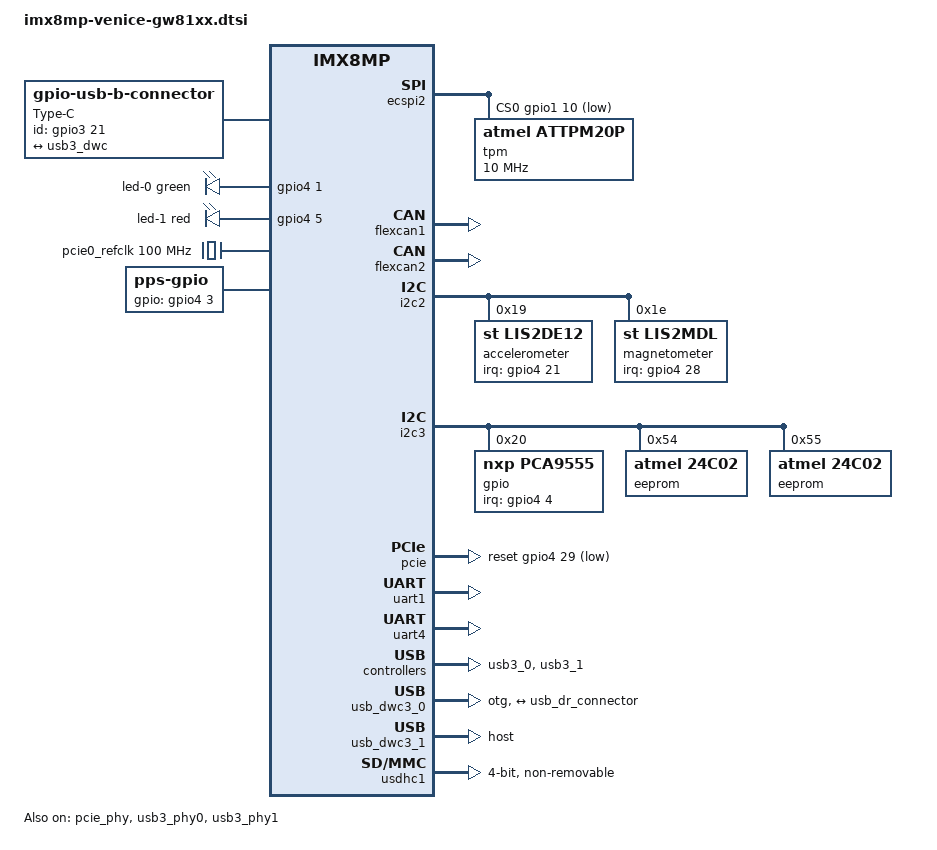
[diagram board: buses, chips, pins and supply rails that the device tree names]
// SPDX-License-Identifier: (GPL-2.0+ OR MIT)
/*
 * Copyright 2026 Gateworks Corporation
 */

#include <dt-bindings/gpio/gpio.h>
#include <dt-bindings/leds/common.h>
#include <dt-bindings/phy/phy-imx8-pcie.h>

/ {
	aliases {
		fsa1 = &i2c3;
	};

	connector {
		compatible = "gpio-usb-b-connector", "usb-b-connector";
		id-gpios = <&gpio3 21 GPIO_ACTIVE_HIGH>;
		label = "Type-C";
		pinctrl-0 = <&pinctrl_usbcon1>;
		pinctrl-names = "default";
		type = "micro";

		port {
			usb_dr_connector: endpoint {
				remote-endpoint = <&usb3_dwc>;
			};
		};
	};

	led-controller {
		compatible = "gpio-leds";
		pinctrl-0 = <&pinctrl_gpio_leds>;
		pinctrl-names = "default";

		led-0 {
			color = <LED_COLOR_ID_GREEN>;
			default-state = "on";
			function = LED_FUNCTION_STATUS;
			gpios = <&gpio4 1 GPIO_ACTIVE_HIGH>;
			linux,default-trigger = "heartbeat";
		};

		led-1 {
			color = <LED_COLOR_ID_RED>;
			default-state = "off";
			function = LED_FUNCTION_STATUS;
			gpios = <&gpio4 5 GPIO_ACTIVE_HIGH>;
		};
	};

	pcie0_refclk: clock-pcie0 {
		compatible = "fixed-clock";
		#clock-cells = <0>;
		clock-frequency = <100000000>;
	};

	pps {
		compatible = "pps-gpio";
		gpios = <&gpio4 3 GPIO_ACTIVE_HIGH>;
		pinctrl-0 = <&pinctrl_pps>;
		pinctrl-names = "default";
	};
};

&ecspi2 {
	cs-gpios = <&gpio1 10 GPIO_ACTIVE_LOW>,	/* CS0 onboard TPM */
		   <&gpio4 26 GPIO_ACTIVE_LOW>; /* CS1 off-board J30 FSA1 */
	pinctrl-0 = <&pinctrl_spi2>;
	pinctrl-names = "default";
	status = "okay";

	tpm@0 {
		compatible = "atmel,attpm20p", "tcg,tpm_tis-spi";
		reg = <0x0>;
		spi-max-frequency = <10000000>;
	};
};

&flexcan1 {
	pinctrl-0 = <&pinctrl_can1>;
	pinctrl-names = "default";
	status = "okay";
};

&flexcan2 {
	pinctrl-0 = <&pinctrl_can2>;
	pinctrl-names = "default";
	status = "okay";
};

&gpio1 {
	gpio-line-names = "", "", "", "",
		"fsa1_gpio3", "", "", "",
		"", "", "", "",
		"", "fsa1_gpio1", "", "",
		"", "", "", "",
		"", "", "", "",
		"", "", "", "",
		"", "", "", "";
};

&gpio4 {
	gpio-line-names = "", "", "", "",
		"fsa1_gpio4", "", "", "",
		"dio1", "", "", "dio0",
		"fsa1_present#", "", "fsa1_card_pen", "",
		"", "", "", "",
		"", "", "rs485_en", "rs485_term",
		"fsa1_gpio2", "", "", "rs485_half",
		"", "", "", "";
};

&i2c2 {
	accelerometer@19 {
		compatible = "st,lis2de12";
		reg = <0x19>;
		interrupt-parent = <&gpio4>;
		interrupts = <21 IRQ_TYPE_LEVEL_LOW>;
		pinctrl-0 = <&pinctrl_accel>;
		pinctrl-names = "default";
		st,drdy-int-pin = <1>;
	};

	magnetometer@1e {
		compatible = "st,lis2mdl";
		reg = <0x1e>;
		interrupt-parent = <&gpio4>;
		interrupts = <28 IRQ_TYPE_LEVEL_LOW>;
		pinctrl-0 = <&pinctrl_mag>;
		pinctrl-names = "default";
	};
};

&i2c3 {
	gpio@20 {
		compatible = "nxp,pca9555";
		reg = <0x20>;
		#interrupt-cells = <2>;
		interrupt-controller;
		interrupt-parent = <&gpio4>;
		interrupts = <4 IRQ_TYPE_EDGE_FALLING>;
		#gpio-cells = <2>;
		gpio-controller;
	};

	eeprom@54 {
		compatible = "atmel,24c02";
		reg = <0x54>;
		pagesize = <16>;
	};

	eeprom@55 {
		compatible = "atmel,24c02";
		reg = <0x55>;
		pagesize = <16>;
	};
};

&iomuxc {
	pinctrl-0 = <&pinctrl_hog>;
	pinctrl-names = "default";

	pinctrl_accel: accelgrp {
		fsl,pins = <
			MX8MP_IOMUXC_SAI2_RXFS__GPIO4_IO21	0x150	/* IRQ# */
		>;
	};

	pinctrl_can1: can1grp {
		fsl,pins = <
			MX8MP_IOMUXC_SPDIF_TX__CAN1_TX		0x154
			MX8MP_IOMUXC_SPDIF_RX__CAN1_RX		0x154
		>;
	};

	pinctrl_can2: can2grp {
		fsl,pins = <
			MX8MP_IOMUXC_SAI5_RXD3__CAN2_TX		0x154
			MX8MP_IOMUXC_SAI5_MCLK__CAN2_RX		0x154
		>;
	};

	pinctrl_gpio_leds: gpioledgrp {
		fsl,pins = <
			MX8MP_IOMUXC_SAI1_RXC__GPIO4_IO01	0x6	/* LEDG */
			MX8MP_IOMUXC_SAI1_RXD3__GPIO4_IO05	0x6	/* LEDR */
		>;
	};

	pinctrl_hog: hoggrp {
		fsl,pins = <
			MX8MP_IOMUXC_SAI1_RXD6__GPIO4_IO08	0x146	/* DIO1 */
			MX8MP_IOMUXC_SAI1_TXC__GPIO4_IO11	0x146	/* DIO0 */
			MX8MP_IOMUXC_SAI2_MCLK__GPIO4_IO27	0x106	/* RS485_HALF */
			MX8MP_IOMUXC_SAI2_RXC__GPIO4_IO22	0x106	/* RS485_EN */
			MX8MP_IOMUXC_SAI2_RXD0__GPIO4_IO23	0x106	/* RS485_TERM */
			MX8MP_IOMUXC_SAI1_TXD2__GPIO4_IO14	0x1d0	/* FSA1_PEN */
			MX8MP_IOMUXC_SAI1_TXD0__GPIO4_IO12	0x1d0	/* FSA1_PRES# */
		>;
	};

	pinctrl_mag: maggrp {
		fsl,pins = <
			MX8MP_IOMUXC_SAI3_RXFS__GPIO4_IO28	0x140	/* IRQ# */
		>;
	};

	pinctrl_pcie0: pcie0grp {
		fsl,pins = <
			MX8MP_IOMUXC_SAI3_RXC__GPIO4_IO29	0x106	/* PERST# */
		>;
	};

	pinctrl_pps: ppsgrp {
		fsl,pins = <
			MX8MP_IOMUXC_SAI1_RXD1__GPIO4_IO03	0x146
		>;
	};

	pinctrl_spi2: spi2grp {
		fsl,pins = <
			MX8MP_IOMUXC_ECSPI2_SCLK__ECSPI2_SCLK	0xd0
			MX8MP_IOMUXC_ECSPI2_MOSI__ECSPI2_MOSI	0xd0
			MX8MP_IOMUXC_ECSPI2_MISO__ECSPI2_MISO	0xd0
			MX8MP_IOMUXC_GPIO1_IO10__GPIO1_IO10	0x140	/* TPM_CS */
			MX8MP_IOMUXC_SAI2_TXD0__GPIO4_IO26	0x140	/* FSA1_CS */
		>;
	};

	pinctrl_uart1: uart1grp {
		fsl,pins = <
			MX8MP_IOMUXC_UART1_RXD__UART1_DCE_RX	0x140
			MX8MP_IOMUXC_UART1_TXD__UART1_DCE_TX	0x140
		>;
	};

	pinctrl_uart4: uart4grp {
		fsl,pins = <
			MX8MP_IOMUXC_UART4_RXD__UART4_DCE_RX	0x140
			MX8MP_IOMUXC_UART4_TXD__UART4_DCE_TX	0x140
		>;
	};

	pinctrl_usb1: usb1grp {
		fsl,pins = <
			MX8MP_IOMUXC_SAI1_RXC__GPIO4_IO01	0x140 /* USB1_FLT# */
		>;
	};

	pinctrl_usbcon1: usbcon1grp {
		fsl,pins = <
			MX8MP_IOMUXC_SAI5_RXD0__GPIO3_IO21	0x140 /* USB1_ID */
		>;
	};

	pinctrl_usdhc1: usdhc1grp {
		fsl,pins = <
			MX8MP_IOMUXC_SD1_CLK__USDHC1_CLK	0x190
			MX8MP_IOMUXC_SD1_CMD__USDHC1_CMD	0x1d0
			MX8MP_IOMUXC_SD1_DATA0__USDHC1_DATA0	0x1d0
			MX8MP_IOMUXC_SD1_DATA1__USDHC1_DATA1	0x1d0
			MX8MP_IOMUXC_SD1_DATA2__USDHC1_DATA2	0x1d0
			MX8MP_IOMUXC_SD1_DATA3__USDHC1_DATA3	0x1d0
		>;
	};

	pinctrl_usdhc1_100mhz: usdhc1-100mhzgrp {
		fsl,pins = <
			MX8MP_IOMUXC_SD1_CLK__USDHC1_CLK	0x194
			MX8MP_IOMUXC_SD1_CMD__USDHC1_CMD	0x1d4
			MX8MP_IOMUXC_SD1_DATA0__USDHC1_DATA0	0x1d4
			MX8MP_IOMUXC_SD1_DATA1__USDHC1_DATA1	0x1d4
			MX8MP_IOMUXC_SD1_DATA2__USDHC1_DATA2	0x1d4
			MX8MP_IOMUXC_SD1_DATA3__USDHC1_DATA3	0x1d4
		>;
	};

	pinctrl_usdhc1_200mhz: usdhc1-200mhzgrp {
		fsl,pins = <
			MX8MP_IOMUXC_SD1_CLK__USDHC1_CLK	0x196
			MX8MP_IOMUXC_SD1_CMD__USDHC1_CMD	0x1d6
			MX8MP_IOMUXC_SD1_DATA0__USDHC1_DATA0	0x1d6
			MX8MP_IOMUXC_SD1_DATA1__USDHC1_DATA1	0x1d6
			MX8MP_IOMUXC_SD1_DATA2__USDHC1_DATA2	0x1d6
			MX8MP_IOMUXC_SD1_DATA3__USDHC1_DATA3	0x1d6
		>;
	};
};

&pcie {
	pinctrl-0 = <&pinctrl_pcie0>;
	pinctrl-names = "default";
	reset-gpio = <&gpio4 29 GPIO_ACTIVE_LOW>;
	status = "okay";
};

&pcie_phy {
	clocks = <&pcie0_refclk>;
	clock-names = "ref";
	fsl,clkreq-unsupported;
	fsl,refclk-pad-mode = <IMX8_PCIE_REFCLK_PAD_INPUT>;
	status = "okay";
};

/* GPS */
&uart1 {
	pinctrl-0 = <&pinctrl_uart1>;
	pinctrl-names = "default";
	status = "okay";
};

/* RS232 */
&uart4 {
	pinctrl-0 = <&pinctrl_uart4>;
	pinctrl-names = "default";
	status = "okay";
};

&usb3_0 {
	pinctrl-0 = <&pinctrl_usb1>;
	pinctrl-names = "default";
	fsl,over-current-active-low;
	status = "okay";
};

&usb3_1 {
	fsl,disable-port-power-control;
	fsl,permanently-attached;
	status = "okay";
};

&usb3_phy0 {
	status = "okay";
};

&usb3_phy1 {
	status = "okay";
};

&usb_dwc3_0 {
	/* dual role is implemented but not a full featured OTG */
	adp-disable;
	dr_mode = "otg";
	hnp-disable;
	role-switch-default-mode = "peripheral";
	srp-disable;
	usb-role-switch;
	status = "okay";

	port {
		usb3_dwc: endpoint {
			remote-endpoint = <&usb_dr_connector>;
		};
	};
};

&usb_dwc3_1 {
	dr_mode = "host";
	status = "okay";
};

/* SDIO 1.8V */
&usdhc1 {
	bus-width = <4>;
	non-removable;
	pinctrl-0 = <&pinctrl_usdhc1>;
	pinctrl-1 = <&pinctrl_usdhc1_100mhz>;
	pinctrl-2 = <&pinctrl_usdhc1_200mhz>;
	pinctrl-names = "default", "state_100mhz", "state_200mhz";
	status = "okay";
};
